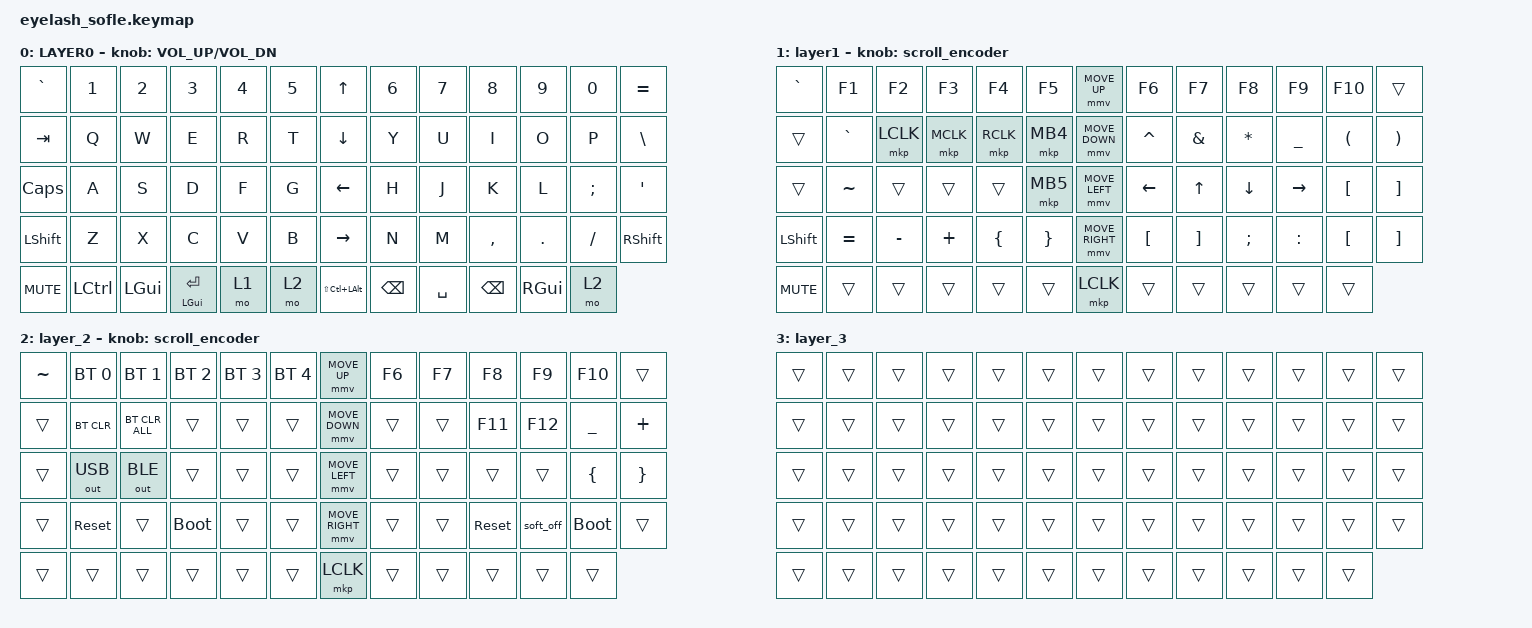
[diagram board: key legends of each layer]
#define ZMK_POINTING_DEFAULT_MOVE_VAL 1200  // 600
#define ZMK_POINTING_DEFAULT_SCRL_VAL 25   // 10

#include <input/processors.dtsi>
#include <zephyr/dt-bindings/input/input-event-codes.h>
#include <behaviors.dtsi>
#include <dt-bindings/zmk/bt.h>
#include <dt-bindings/zmk/ext_power.h>
#include <dt-bindings/zmk/keys.h>
#include <dt-bindings/zmk/pointing.h>
#include <dt-bindings/zmk/rgb.h>
#include <dt-bindings/zmk/outputs.h>

&mmv_input_listener { input-processors = <&zip_xy_scaler 2 1>; };

&msc_input_listener { input-processors = <&zip_scroll_scaler 2 1>; };

&msc {
    acceleration-exponent = <1>;      // 0
    time-to-max-speed-ms = <100>;       // 300
    delay-ms = <0>;                   // 0
};

&mmv {
    time-to-max-speed-ms = <500>;
    acceleration-exponent = <1>;
    trigger-period-ms = <16>;
};


/ {

    scroll_encoder: scroll_encoder {
        compatible = "zmk,behavior-sensor-rotate";
        #sensor-binding-cells = <0>;
        bindings = <&msc SCRL_DOWN>, <&msc SCRL_UP>;
        tap-ms = <100>;
    };

    keymap {
        compatible = "zmk,keymap";

        layer0 {
            bindings = <
&kp GRAVE     &kp N1     &kp N2        &kp N3        &kp N4  &kp N5       &kp UP_ARROW     &kp N6     &kp N7     &kp N8     &kp N9           &kp N0      &kp EQUAL
&kp TAB     &kp Q      &kp W         &kp E         &kp R   &kp T        &kp DOWN_ARROW   &kp Y      &kp U      &kp I      &kp O            &kp P       &kp BSLH
&kp CAPS    &kp A      &kp S         &kp D         &kp F   &kp G        &kp LEFT_ARROW   &kp H      &kp J      &kp K      &kp L            &kp SEMI    &kp SQT
&kp LSHFT   &kp Z      &kp X         &kp C         &kp V   &kp B        &kp RIGHT_ARROW  &kp N      &kp M      &kp COMMA  &kp DOT          &kp FSLH    &kp RSHFT
&kp C_MUTE  &kp LCTRL  &kp LEFT_GUI  &mt LGUI RET  &mo 1   &mo 2    &kp LS(LC(LALT))        &kp BKSP  &kp SPACE  &kp BKSP  &kp RGUI  &mo 2
            >;

            sensor-bindings = <&inc_dec_kp C_VOLUME_UP C_VOL_DN>;
            display-name = "LAYER0";
        };

        layer_1 {
            bindings = <
&kp GRAVE   &kp F1           &kp F2          &kp F3           &kp F4           &kp F5             &mmv MOVE_UP     &kp F6           &kp F7           &kp F8      &kp F9     &kp F10           &trans
&trans      &kp GRAVE        &mkp LCLK       &mkp MCLK        &mkp RCLK        &mkp MB4           &mmv MOVE_DOWN   &kp CARET  &kp AMPS    &kp ASTRK     &kp UNDERSCORE      &kp LPAR    &kp RPAR
&trans      &kp TILDE        &trans          &trans           &trans           &mkp MB5           &mmv MOVE_LEFT   &kp LEFT   &kp UP  &kp DOWN  &kp RIGHT  &kp LEFT_BRACKET  &kp RIGHT_BRACKET
&kp LSHIFT     &kp EQUAL  &kp MINUS  &kp PLUS  &kp LBRC  &kp RBRC  &mmv MOVE_RIGHT &kp LBKT   &kp RBKT  &kp SEMI   &kp COLON  &kp LBKT  &kp RBKT
&kp C_MUTE  &trans           &trans          &trans           &trans           &trans             &mkp LCLK        &trans           &trans           &trans      &trans     &trans
            >;

            display-name = "layer1";
            sensor-bindings = <&scroll_encoder>;
        };

        layer_2 {
            bindings = <
&kp TILDE  &bt BT_SEL 0  &bt BT_SEL 1    &bt BT_SEL 2  &bt BT_SEL 3  &bt BT_SEL 4    &mmv MOVE_UP     &kp F6  &kp F7  &kp F8      &kp F9     &kp F10      &trans
&trans     &bt BT_CLR    &bt BT_CLR_ALL  &trans        &trans        &trans          &mmv MOVE_DOWN   &trans  &trans  &kp F11     &kp F12    &kp UNDER    &kp PLUS
&trans     &out OUT_USB  &out OUT_BLE    &trans        &trans        &trans          &mmv MOVE_LEFT   &trans  &trans  &trans      &trans     &kp LBRC     &kp RBRC
&trans     &sys_reset    &trans          &bootloader   &trans        &trans          &mmv MOVE_RIGHT  &trans  &trans  &sys_reset  &soft_off  &bootloader  &trans
&trans     &trans        &trans          &trans        &trans        &trans          &mkp LCLK        &trans  &trans  &trans      &trans     &trans
            >;

            sensor-bindings = <&scroll_encoder>;
        };

        layer_3 {
            bindings = <
&trans  &trans  &trans  &trans  &trans  &trans    &trans  &trans  &trans  &trans  &trans  &trans  &trans
&trans  &trans  &trans  &trans  &trans  &trans    &trans  &trans  &trans  &trans  &trans  &trans  &trans
&trans  &trans  &trans  &trans  &trans  &trans    &trans  &trans  &trans  &trans  &trans  &trans  &trans
&trans  &trans  &trans  &trans  &trans  &trans    &trans  &trans  &trans  &trans  &trans  &trans  &trans
&trans  &trans  &trans  &trans  &trans  &trans    &trans  &trans  &trans  &trans  &trans  &trans
            >;
        };
    };
};
